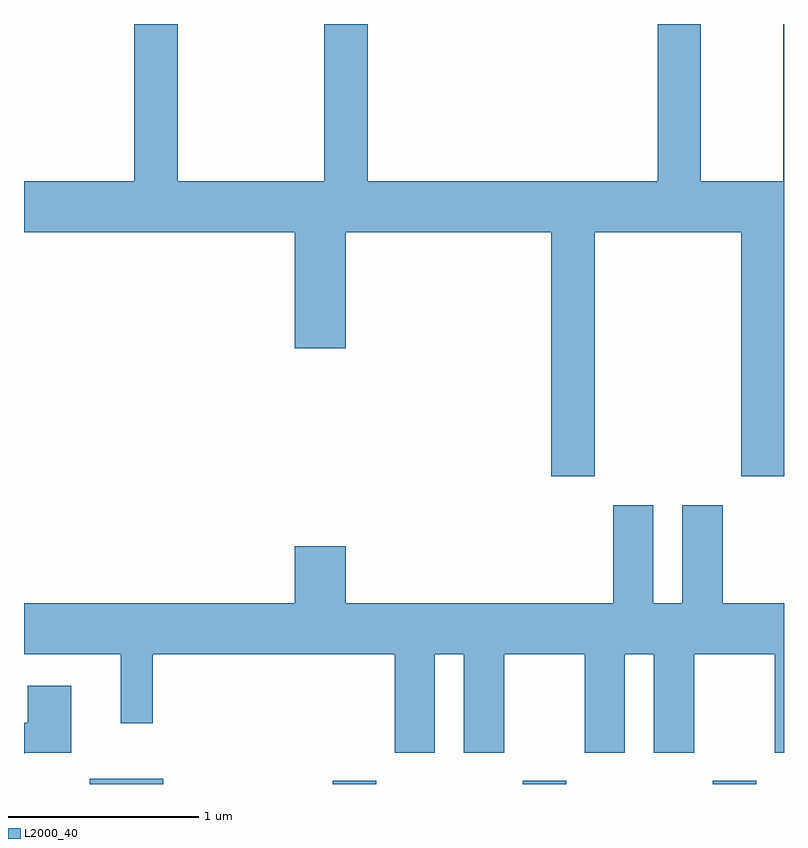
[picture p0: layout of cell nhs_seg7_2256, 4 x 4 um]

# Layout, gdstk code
import gdstk
lib = gdstk.Library(unit=1e-6, precision=1e-09)
def R(c, l, rs):  # rectangles x0, y0, x1, y1
    for r in rs: c.add(gdstk.rectangle(r[:2], r[2:], *l))
def A(c, l, x, y, w, h, nx, ny, dx, dy):  # array of equal rectangles
    R(c, l, [(x+i*dx, y+j*dy, x+i*dx+w, y+j*dy+h) for i in range(nx) for j in range(ny)])
def P(c, l, *ps):  # polygons
    for p in ps: c.add(gdstk.Polygon(p, *l))
L2000_40 = (2000, 40)

nhs_seg7_2256 = lib.new_cell('nhs_seg7_2256')
A(nhs_seg7_2256, L2000_40, 255.236, 1760.252, 0.228, 0.017, 3, 1, 1, 0)
R(nhs_seg7_2256, L2000_40, [(253.956,1760.252,254.344,1760.279)])
P(nhs_seg7_2256, L2000_40, [(256.614,1763.156),(257.386,1763.156),(257.386,1761.871),(257.611,1761.871),(257.611,1764.252),(257.606,1764.252),(257.606,1763.424),(257.174,1763.424),(257.174,1764.252),(256.946,1764.252),(256.946,1763.424),(255.419,1763.424),(255.419,1764.252),(255.191,1764.252),(255.191,1763.424),(254.419,1763.424),(254.419,1764.252),(254.191,1764.252),(254.191,1763.424),(253.611,1763.424),(253.611,1763.156),(255.036,1763.156),(255.036,1762.546),(255.304,1762.546),(255.304,1763.156),(256.386,1763.156),(256.386,1761.871),(256.614,1761.871)],
  [(255.774,1760.936),(255.926,1760.936),(255.926,1760.416),(256.139,1760.416),(256.139,1760.936),(256.561,1760.936),(256.561,1760.416),(256.774,1760.416),(256.774,1760.936),(256.926,1760.936),(256.926,1760.416),(257.139,1760.416),(257.139,1760.936),(257.561,1760.936),(257.561,1760.416),(257.611,1760.416),(257.611,1761.204),(257.289,1761.204),(257.289,1761.719),(257.076,1761.719),(257.076,1761.204),(256.924,1761.204),(256.924,1761.719),(256.711,1761.719),(256.711,1761.204),(255.304,1761.204),(255.304,1761.504),(255.036,1761.504),(255.036,1761.204),(253.611,1761.204),(253.611,1760.936),(254.121,1760.936),(254.121,1760.573),(254.289,1760.573),(254.289,1760.936),(255.561,1760.936),(255.561,1760.416),(255.774,1760.416)],
  [(253.617,1760.416),(253.859,1760.416),(253.859,1760.769),(253.631,1760.769),(253.631,1760.574),(253.611,1760.574),(253.611,1760.41)])

lib.write_gds('nhs_seg7_2256.gds')
